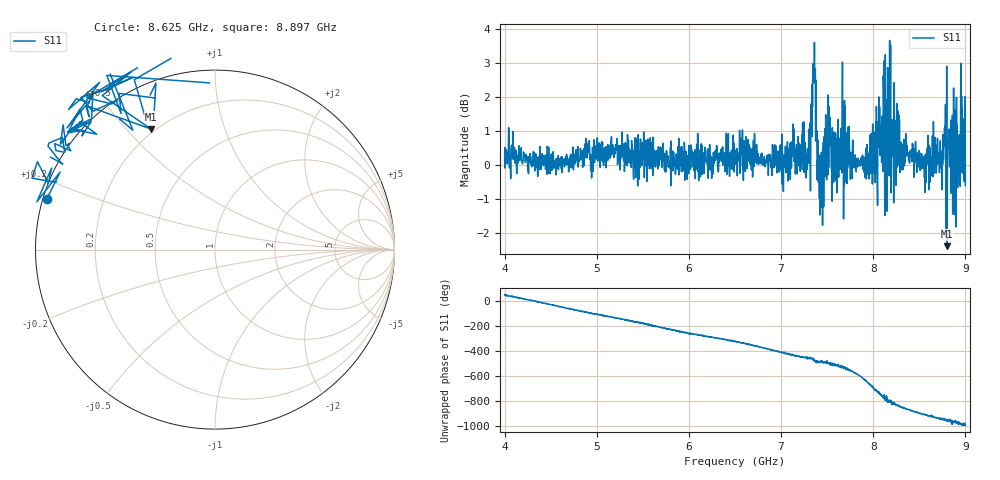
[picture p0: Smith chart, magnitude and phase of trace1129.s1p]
! Created with skrf 1.8.0 (http://scikit-rf.org).
# Hz S RI R 50.0
!freq ReS11 ImS11
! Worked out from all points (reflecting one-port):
!   1601 points, 4 GHz to 9 GHz, reference 50 ohm
!   lowest |S11| = -2.4 dB at 8.803 GHz (marker M1), VSWR 7.34, Z = 9.22 + j29.3 ohm
!   phase of S11 starts at 55 deg and turns -1044 deg over the sweep
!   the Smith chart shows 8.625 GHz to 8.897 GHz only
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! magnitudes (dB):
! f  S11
! 4 GHz  0.2
! 4.625 GHz  -0.2
! 5.25 GHz  -0.1
! 5.875 GHz  -0.1
! 6.5 GHz  0.2
! 7.038 GHz  0.3
! 7.125 GHz  0.3
! 7.297 GHz  0.1
! 7.353 GHz  2.4
! 7.369 GHz  2.7
! 7.4 GHz  0.7
! 7.428 GHz  0.3
! 7.509 GHz  -0.3
! 7.584 GHz  0.2
! 7.669 GHz  0.8
! 7.703 GHz  1.0
! 7.75 GHz  0.0
! 8.022 GHz  -0.5
! 8.094 GHz  0.9
! 8.15 GHz  -1.4
! 8.162 GHz  0.0
! 8.216 GHz  1.0
! 8.375 GHz  0.3
! 8.553 GHz  0.0
! 8.803 GHz  -2.4
! 8.875 GHz  0.8
! 8.972 GHz  0.4
! 9 GHz  -0.6
